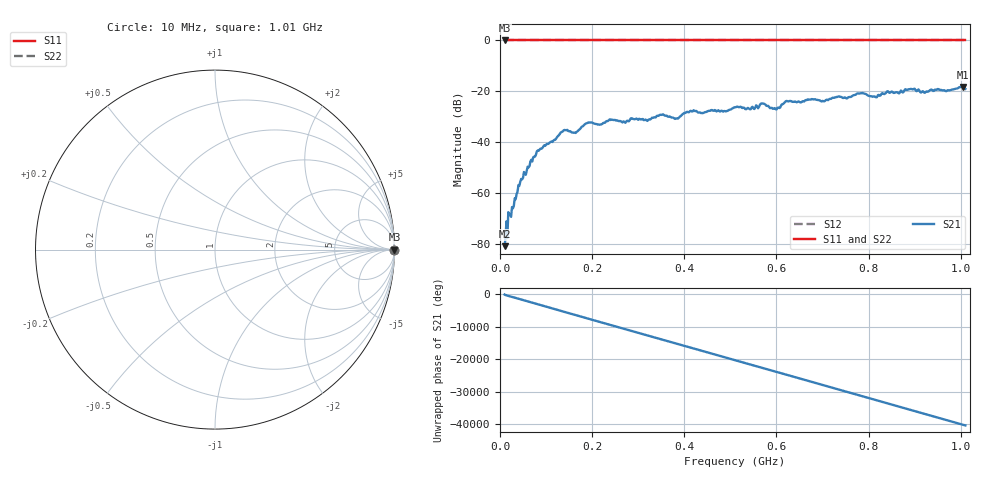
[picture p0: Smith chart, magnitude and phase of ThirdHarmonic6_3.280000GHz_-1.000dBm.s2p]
! 8/17/2025 10:10:24 AM
! C:\ANRITSUVNA\TEMP\TEMP.S2P
! CHANNEL.1
! TR.MEASUREMENT
! RAW.DATA
! RF.CORRECTION.OFF
! AVERAGING.OFF
! IF.BANDWIDTH: 5KHZ
! SWEEPTYPE:  FREQ.SWEEP(Linear)
! Reference Plane Port Info
! PORT:  PORT1  PORT2
! DISTANCE:  0  m  0  m
! TIME:  0  s  0  s
! PHASE.OFFSET:  0  deg.  0  deg.
! LOSS:  0  dB  0  dB
! REF.LOSS:  0  dB  0  dB
! REF.FREQ:  0  Hz  0  Hz
! Power Info
! POWER:  -20  dBm  -20  dBm
! EFF.POWER:  -20  dBm  -20  dBm
! SOURCE.ATTEN:  0  dB  0  dB
! TEST.ATTEN:  0  dB  0  dB
# GHZ S RI R 50.0
! FREQ.GHZ  S11RE  S11IM  S21RE  S21IM  S12RE  S12IM  S22RE  S22IM
!; PortSelection: Port_12
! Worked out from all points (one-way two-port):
!   501 points, 10 MHz to 1.01 GHz, reference 50 ohm
!   highest |S21| = -18.21 dB at 1.004 GHz (marker M1); lowest = -80.7 dB at 10 MHz (marker M2)
!   lowest |S11| = 0.0 dB at 10 MHz (marker M3)
!   |S11| at or under -10 dB: nowhere
!   |S22| runs from 0.0 to 0.0 dB; largest |S21 - S12| = 1.1
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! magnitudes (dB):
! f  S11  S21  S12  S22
! 10 MHz  0.0  -80.7  0.0  0.0
! 22 MHz  0.0  -68.4  0.0  0.0
! 44 MHz  0.0  -55.4  0.0  0.0
! 78 MHz  0.0  -44.8  0.0  0.0
! 136 MHz  0.0  -35.7  0.0  0.0
! 162 MHz  0.0  -36.2  0.0  0.0
! 178 MHz  0.0  -33.8  0.0  0.0
! 194 MHz  0.0  -32.3  0.0  0.0
! 344 MHz  0.0  -29.6  0.0  0.0
! 384 MHz  0.0  -30.6  0.0  0.0
! 416 MHz  0.0  -27.8  0.0  0.0
! 510 MHz  0.0  -26.3  0.0  0.0
! 548 MHz  0.0  -26.0  0.0  0.0
! 570 MHz  0.0  -24.8  0.0  0.0
! 596 MHz  0.0  -26.5  0.0  0.0
! 624 MHz  0.0  -23.9  0.0  0.0
! 678 MHz  0.0  -23.0  0.0  0.0
! 784 MHz  0.0  -20.7  0.0  0.0
! 814 MHz  0.0  -22.1  0.0  0.0
! 844 MHz  0.0  -20.4  0.0  0.0
! 1.004 GHz  0.0  -18.2  0.0  0.0
! 1.01 GHz  0.0  -19.0  0.0  0.0
